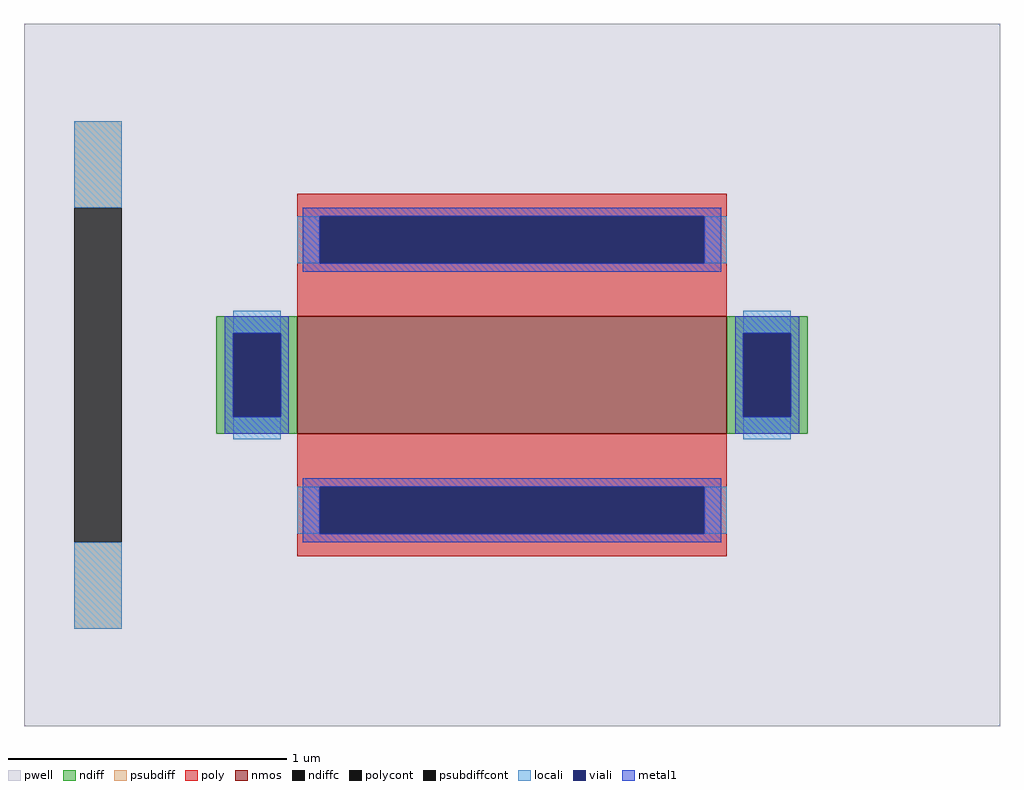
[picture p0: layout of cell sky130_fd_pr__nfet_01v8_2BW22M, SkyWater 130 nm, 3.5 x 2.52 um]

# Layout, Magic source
magic
tech sky130A
<< pwell >>
rect -175 -126 175 126
<< nmos >>
rect -77 -21 77 21
<< ndiff >>
rect -106 15 -77 21
rect -106 -15 -100 15
rect -83 -15 -77 15
rect -106 -21 -77 -15
rect 77 15 106 21
rect 77 -15 83 15
rect 100 -15 106 15
rect 77 -21 106 -15
<< ndiffc >>
rect -100 -15 -83 15
rect 83 -15 100 15
<< psubdiff >>
rect -157 60 -140 91
rect -157 -91 -140 -60
<< psubdiffcont >>
rect -157 -60 -140 60
<< poly >>
rect -77 57 77 65
rect -77 40 -69 57
rect 69 40 77 57
rect -77 21 77 40
rect -77 -40 77 -21
rect -77 -57 -69 -40
rect 69 -57 77 -40
rect -77 -65 77 -57
<< polycont >>
rect -69 40 69 57
rect -69 -57 69 -40
<< locali >>
rect -157 60 -140 91
rect -77 40 -69 57
rect 69 40 77 57
rect -100 15 -83 23
rect -100 -23 -83 -15
rect 83 15 100 23
rect 83 -23 100 -15
rect -77 -57 -69 -40
rect 69 -57 77 -40
rect -157 -91 -140 -60
<< viali >>
rect -69 40 69 57
rect -100 -15 -83 15
rect 83 -15 100 15
rect -69 -57 69 -40
<< metal1 >>
rect -75 57 75 60
rect -75 40 -69 57
rect 69 40 75 57
rect -75 37 75 40
rect -103 15 -80 21
rect -103 -15 -100 15
rect -83 -15 -80 15
rect -103 -21 -80 -15
rect 80 15 103 21
rect 80 -15 83 15
rect 100 -15 103 15
rect 80 -21 103 -15
rect -75 -40 75 -37
rect -75 -57 -69 -40
rect 69 -57 75 -40
rect -75 -60 75 -57
<< properties >>
string FIXED_BBOX -148 -99 148 99
string gencell sky130_fd_pr__nfet_01v8
string library sky130
string parameters w 0.42 l 1.54 m 1 nf 1 diffcov 100 polycov 100 guard 1 glc 1 grc 1 gtc 1 gbc 1 tbcov 100 rlcov 100 topc 1 botc 1 poverlap 0 doverlap 1 lmin 0.15 wmin 0.42 compatible {sky130_fd_pr__nfet_01v8 sky130_fd_pr__nfet_01v8_lvt  sky130_fd_bs_flash__special_sonosfet_star  sky130_fd_pr__nfet_g5v0d10v5 sky130_fd_pr__nfet_05v0_nvt  sky130_fd_pr__nfet_03v3_nvt} full_metal 1 viasrc 100 viadrn 100 viagate 100 viagb 0 viagr 0 viagl 0 viagt 0
<< end >>
